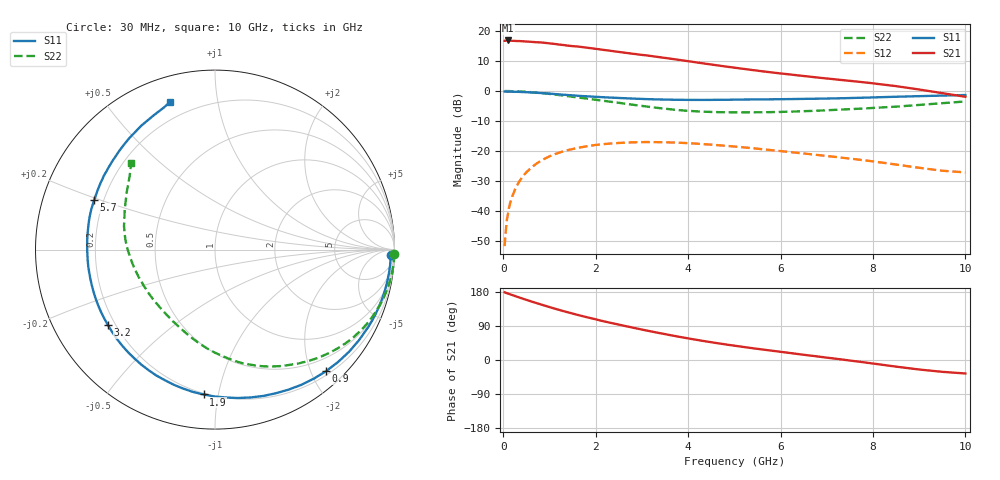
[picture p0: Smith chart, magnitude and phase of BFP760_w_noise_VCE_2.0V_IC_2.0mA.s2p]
! Infineon Technologies  Discrete & RF Semiconductors
! BFP760
! VCE =  2.0 V,  IC =  2.0 mA
! Common Emitter S-Parameters:  Nov 2012
# GHz  S  MA  R  50
!  f  S11  S21  S12  S22
! GHz  MAG  ANG  MAG  ANG  MAG  ANG  MAG  ANG
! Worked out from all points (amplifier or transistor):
!   99 points, 30 MHz to 10 GHz, reference 50 ohm
!   highest |S21| = 16.9 dB at 100 MHz (marker M1)
!   |S21| within 3 dB of that: start of sweep to 2.105 GHz
!   unconditionally stable (mu >= 1): 7.16 GHz to end of sweep
!   at 350 MHz: K = 0.05, MSG = 23.4 dB, |S12| = -30.1 dB
!   at 3.5 GHz: K = 0.32, MSG = 14.1 dB, |S12| = -17.1 dB
!   at 10 GHz: K = 1.72, MAG = 7.7 dB, |S12| = -27.1 dB
!   lowest NFmin = 0.46 dB at 900 MHz
!   S11 on the Smith chart (normalised r, x): 30 MHz: 31, -47; 900 MHz: 0.26, -2.24; 1.9 GHz: 0.19, -0.91; 3.2 GHz: 0.17, -0.31; 5.7 GHz: 0.16, +0.19; 10 GHz: 0.12, +0.73
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0.03  0.9809 -1.7  6.874 178.7  0.0026 85.6  1 -1.3
0.06  0.9805 -3.3  6.94 177.1  0.0051 88.8  0.9989 -2.2
0.1  0.9796 -5.4  6.97 175.4  0.0087 90.9  0.9987 -3.7
0.2  0.976 -10.8  6.868 171.2  0.0178 82.4  0.9945 -7.4
0.35  0.9676 -18.8  6.81 164.8  0.0313 77.0  0.9855 -12.9
0.6  0.9481 -32.0  6.621 154.8  0.0523 68.2  0.9577 -21.9
0.9  0.9172 -47.6  6.367 143.4  0.0749 57.7  0.9129 -32.3
1.1  0.8937 -57.5  6.113 136.1  0.0879 51.0  0.8771 -38.9
1.3  0.8691 -67.1  5.852 129.1  0.099 44.9  0.8398 -45.2
1.7  0.8261 -85.8  5.415 116.2  0.1162 33.8  0.7668 -56.8
1.9  0.8096 -94.5  5.171 110.3  0.1234 28.6  0.733 -62.5
2.2  0.7868 -107.2  4.817 101.4  0.131 21.1  0.683 -70.9
2.6  0.761 -122.7  4.383 90.7  0.1376 12.1  0.6207 -81.3
3.2  0.7301 -144.7  3.834 75.4  0.141 -0.1  0.5404 -97.0
3.4  0.7238 -151.4  3.653 70.6  0.1405 -3.9  0.5177 -102.3
3.7  0.7165 -160.9  3.397 63.6  0.1386 -9.3  0.4892 -110.1
4.1  0.7124 -172.2  3.071 54.9  0.134 -15.9  0.4633 -120.3
5.1  0.7206 166.7  2.398 36.1  0.1171 -28.7  0.4422 -141.8
5.7  0.7276 157.8  2.094 26.3  0.1055 -34.4  0.4447 -152.8
6.7  0.7447 145.4  1.713 10.9  0.0877 -40.5  0.4678 -171.1
8.5  0.8038 120.6  1.208 -17.5  0.0596 -44.1  0.5501 156.1
10  0.8578 107.1  0.803 -35.6  0.0441 -30.0  0.6708 134.2
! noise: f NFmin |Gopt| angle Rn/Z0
0.9  0.46  0.62  27  0.22
1.8  0.6  0.52  57  0.18
2.4  0.73  0.48  77  0.16
3.5  0.93  0.42  109  0.14
5.5  1.34  0.44  -164  0.08
8  2.21  0.57  -108  0.43
